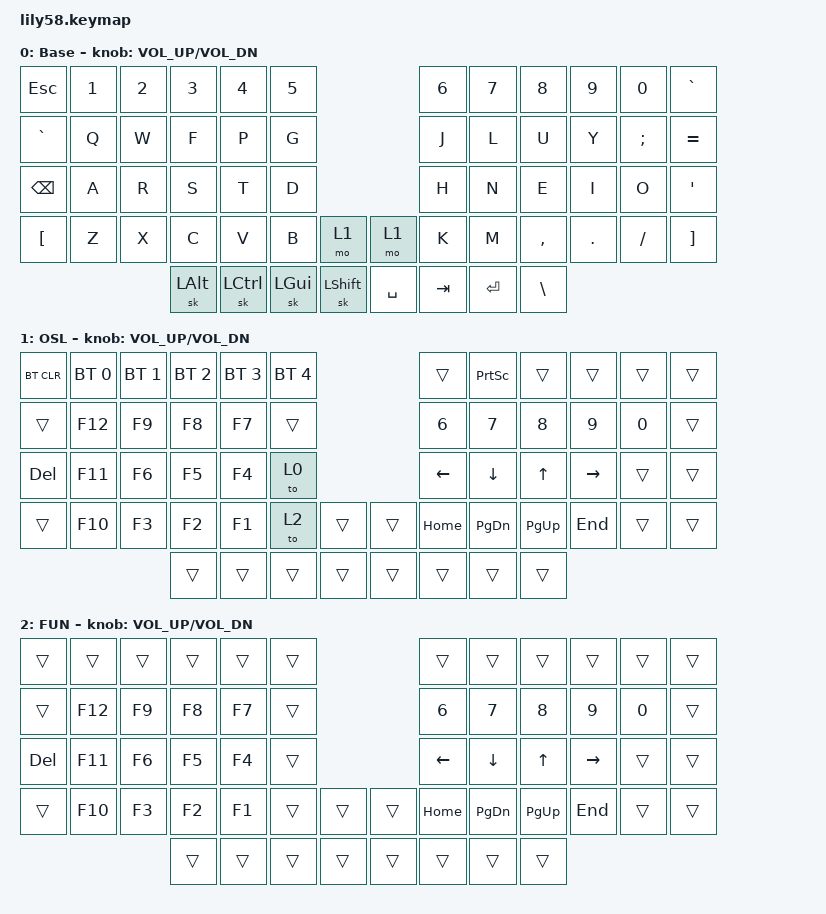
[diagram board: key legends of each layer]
/*
 * Copyright (c) 2020 The ZMK Contributors
 *
 * SPDX-License-Identifier: MIT
 */

#include <behaviors.dtsi>
#include <dt-bindings/zmk/keys.h>
#include <dt-bindings/zmk/bt.h>
#include <dt-bindings/zmk/ext_power.h>

/ {
    keymap {
        compatible = "zmk,keymap";

        default_layer {
// ------------------------------------------------------------------------------------------------------
// |  ESC  |  1  |  2  |  3  |  4   |  5   |                   |  6   |  7    |  8  |  9  |  0  |   -   |
// |   `   |  Q  |  W  |  F  |  P   |  G   |                   |  J   |  L    |  U  |  Y  |  ;  |   =   |
// |  BSPC |  A  |  R  |  S  |  T   |  D   |                   |  H   |  N    |  E  |  I  |  O  |   '   |
// |  "["  |  Z  |  X  |  C  |  V   |  B   |   OSL  |  |  OSL  |  K   |  M    |  ,  |  .  |  /  |  "]"  |
//                     | ALT | CTRL | GUI  |  SHIFT |  | SPACE | TAB  | ENTER |  \  |
            display-name = "Base";
            bindings = <
&kp ESC   &kp N1 &kp N2 &kp N3   &kp N4    &kp N5                        &kp N6  &kp N7    &kp N8    &kp N9  &kp N0   &kp GRAVE
&kp GRAVE &kp Q  &kp W  &kp F    &kp P     &kp G                         &kp J   &kp L     &kp U     &kp Y   &kp SEMI &kp EQUAL
&kp BSPC  &kp A  &kp R  &kp S    &kp T     &kp D                         &kp H   &kp N     &kp E     &kp I   &kp O    &kp SQT
&kp LBKT  &kp Z  &kp X  &kp C    &kp V     &kp B    &mo 1      &mo 1     &kp K   &kp M     &kp COMMA &kp DOT &kp FSLH &kp RBKT
                        &sk LALT &sk LCTRL &sk LGUI &sk LSHIFT &kp SPACE &kp TAB &kp ENTER &kp BSLH
            >;

            sensor-bindings = <&inc_dec_kp C_VOL_UP C_VOL_DN>;
        };

        oneshot_layer {
// ------------------------------------------------------------------------------------------------------------
// | BTCLR | BT1 | BT2 |  BT3 |  BT4 |  BT5 |                   |      | PRNSC |       |      |       |       |
// |       | F12 |  F9 |  F8  |  F7  | GAME |                   |      |       |       |      |       |       |
// |  DEL  | F11 |  F6 |  F5  |  F4  | BASE |                   | LEFT | DOWN  |  UP   | RIGHT|       |       |
// |       | F10 |  F3 |  F2  |  F1  | FNLK |        |  |       | HOME | PGDN  | PGUP  |  END |       |       |
//                     |      |      |      |        |  |       |      |       |       |
            display-name = "OSL";
            bindings = <
&bt BT_CLR &bt BT_SEL 0  &bt BT_SEL 1  &bt BT_SEL 2  &bt BT_SEL 3 &bt BT_SEL 4                     &trans   &kp PSCRN &trans    &trans    &trans    &trans
&trans     &kp F12       &kp F9        &kp F8        &kp F7       &trans                           &kp N6   &kp N7    &kp N8    &kp N9    &kp N0    &trans
&kp DEL    &kp F11       &kp F6        &kp F5        &kp F4       &to 0                            &kp LEFT &kp DOWN  &kp UP    &kp RIGHT &trans  &trans
&trans     &kp F10       &kp F3        &kp F2        &kp F1       &to 2         &trans   &trans    &kp HOME &kp PG_DN &kp PG_UP &kp END   &trans  &trans
                         &trans        &trans        &trans       &trans        &trans   &trans    &trans   &trans
            >;

            sensor-bindings = <&inc_dec_kp C_VOL_UP C_VOL_DN>;
        };

        function_layer {
// ------------------------------------------------------------------------------------------------------------
// |       |     |     |      |      |      |                   |      |       |       |      |       |       |
// |       | F12 |  F9 |  F8  |  F7  |      |                   |      |       |       |      |       |       |
// |  DEL  | F11 |  F6 |  F5  |  F4  |      |                   | LEFT | DOWN  |  UP   | RIGHT|       |       |
// |       | F10 |  F3 |  F2  |  F1  |      |        |  |       | HOME | PGDN  | PGUP  |  END |       |       |
//                     |      |      |      |        |  |       |      |       |       |
            display-name = "FUN";
            bindings = <
&trans  &trans  &trans &trans  &trans  &trans                       &trans   &trans    &trans    &trans    &trans  &trans
&trans  &kp F12 &kp F9 &kp F8  &kp F7  &trans                       &kp N6   &kp N7    &kp N8    &kp N9    &kp N0  &trans
&kp DEL &kp F11 &kp F6 &kp F5  &kp F4  &trans                       &kp LEFT &kp DOWN  &kp UP    &kp RIGHT &trans  &trans
&trans  &kp F10 &kp F3 &kp F2  &kp F1  &trans    &trans   &trans    &kp HOME &kp PG_DN &kp PG_UP &kp END   &trans  &trans
                       &trans  &trans  &trans    &trans   &trans    &trans   &trans    &trans
            >;

            sensor-bindings = <&inc_dec_kp C_VOL_UP C_VOL_DN>;
        };

        extra_1 {
            status = "reserved";
        };

        extra_2 {
            status = "reserved";
        };

        extra_3 {
            status = "reserved";
        };
    };
};
